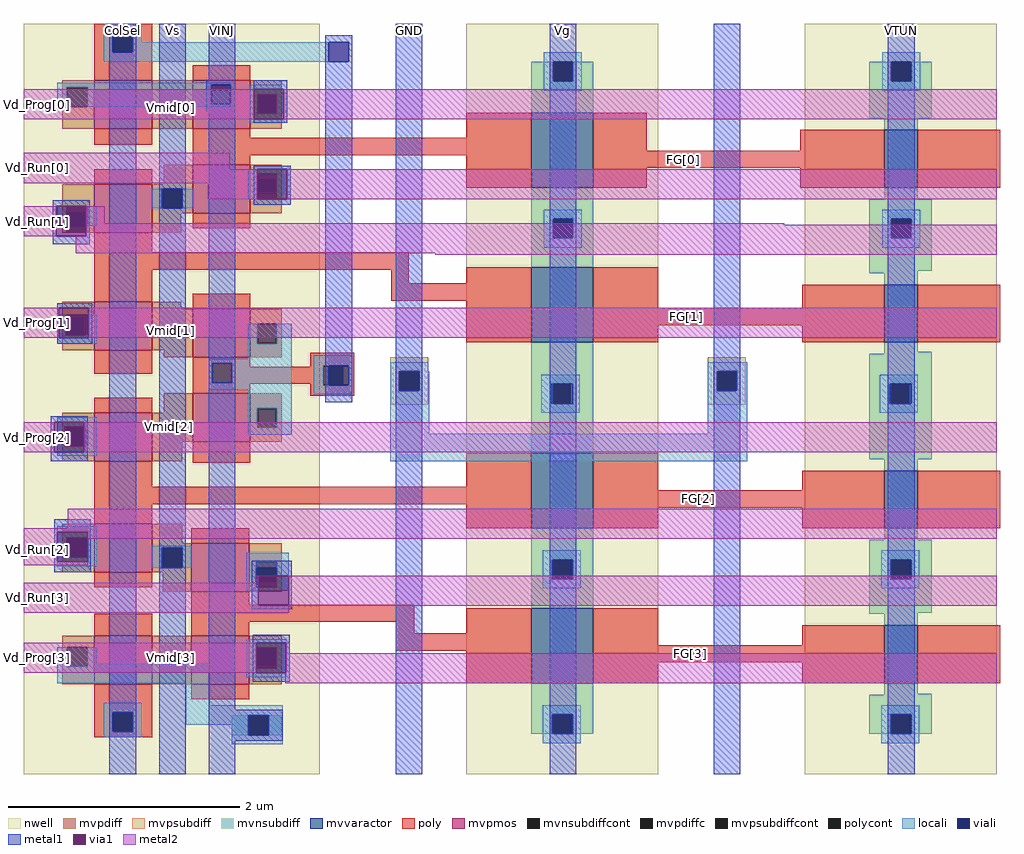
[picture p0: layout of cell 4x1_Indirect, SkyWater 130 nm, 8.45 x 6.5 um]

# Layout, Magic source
magic
tech sky130A
<< nwell >>
rect 545 155 801 805
rect 928 155 1094 805
rect 1221 155 1387 805
<< mvpmos >>
rect 606 714 656 756
rect 691 714 741 756
rect 606 624 656 666
rect 691 641 741 683
rect 606 522 656 564
rect 691 516 741 558
rect 606 426 656 468
rect 691 443 741 485
rect 606 330 656 372
rect 690 313 740 355
rect 606 233 656 275
rect 690 233 740 275
<< mvvaractor >>
rect 984 663 1038 728
rect 1290 663 1319 713
rect 984 529 1038 594
rect 1290 529 1319 579
rect 984 368 1038 433
rect 1290 368 1319 418
rect 984 234 1038 299
rect 1290 234 1319 284
<< mvpdiff >>
rect 578 750 606 756
rect 578 733 582 750
rect 600 733 606 750
rect 578 714 606 733
rect 656 714 691 756
rect 741 744 768 756
rect 741 727 747 744
rect 764 727 768 744
rect 741 714 768 727
rect 666 666 691 683
rect 578 647 606 666
rect 578 630 582 647
rect 600 630 606 647
rect 578 624 606 630
rect 656 662 691 666
rect 656 645 664 662
rect 682 645 691 662
rect 656 641 691 645
rect 741 670 768 683
rect 741 653 747 670
rect 764 653 768 670
rect 741 641 768 653
rect 656 624 681 641
rect 578 553 606 564
rect 578 536 582 553
rect 600 536 606 553
rect 578 522 606 536
rect 656 558 681 564
rect 656 522 691 558
rect 666 516 691 522
rect 741 545 768 558
rect 741 528 747 545
rect 764 528 768 545
rect 741 516 768 528
rect 666 468 691 485
rect 578 456 606 468
rect 578 439 582 456
rect 600 439 606 456
rect 578 426 606 439
rect 656 443 691 468
rect 741 472 768 485
rect 741 455 747 472
rect 764 455 768 472
rect 741 443 768 455
rect 656 426 682 443
rect 578 360 606 372
rect 578 343 582 360
rect 600 343 606 360
rect 578 330 606 343
rect 656 355 682 372
rect 656 351 690 355
rect 656 334 664 351
rect 682 334 690 351
rect 656 330 690 334
rect 665 313 690 330
rect 740 339 768 355
rect 740 322 746 339
rect 764 322 768 339
rect 740 313 768 322
rect 578 265 606 275
rect 578 248 582 265
rect 600 248 606 265
rect 578 233 606 248
rect 656 233 690 275
rect 740 264 768 275
rect 740 247 746 264
rect 764 247 768 264
rect 740 233 768 247
<< mvpdiffc >>
rect 582 733 600 750
rect 747 727 764 744
rect 582 630 600 647
rect 664 645 682 662
rect 747 653 764 670
rect 582 536 600 553
rect 747 528 764 545
rect 582 439 600 456
rect 747 455 764 472
rect 582 343 600 360
rect 664 334 682 351
rect 746 322 764 339
rect 582 248 600 265
rect 746 247 764 264
<< mvpsubdiff >>
rect 862 504 895 516
rect 862 487 870 504
rect 887 487 895 504
rect 862 475 895 487
rect 1137 504 1170 516
rect 1137 487 1145 504
rect 1162 487 1170 504
rect 1137 475 1170 487
<< mvnsubdiff >>
rect 984 755 1003 772
rect 1020 755 1038 772
rect 984 728 1038 755
rect 1277 755 1296 772
rect 1313 755 1331 772
rect 1277 723 1331 755
rect 1290 713 1319 723
rect 984 636 1038 663
rect 1290 653 1319 663
rect 984 619 1003 636
rect 1020 619 1038 636
rect 984 594 1038 619
rect 1277 636 1331 653
rect 1277 619 1296 636
rect 1313 619 1331 636
rect 1277 591 1331 619
rect 1277 589 1319 591
rect 1290 579 1319 589
rect 984 493 1038 529
rect 1290 521 1319 529
rect 1290 519 1331 521
rect 984 476 1001 493
rect 1018 476 1038 493
rect 984 433 1038 476
rect 1277 493 1331 519
rect 1277 476 1294 493
rect 1311 476 1331 493
rect 1277 428 1331 476
rect 1290 418 1319 428
rect 984 341 1038 368
rect 1290 358 1319 368
rect 984 324 1002 341
rect 1019 324 1038 341
rect 984 299 1038 324
rect 1277 341 1331 358
rect 1277 324 1295 341
rect 1312 324 1331 341
rect 1277 295 1331 324
rect 1277 294 1319 295
rect 1290 284 1319 294
rect 984 207 1038 234
rect 1290 225 1319 234
rect 1290 224 1331 225
rect 725 189 739 206
rect 756 189 768 206
rect 984 190 1002 207
rect 1019 190 1038 207
rect 1277 207 1331 224
rect 1277 190 1295 207
rect 1312 190 1331 207
<< mvpsubdiffcont >>
rect 870 487 887 504
rect 1145 487 1162 504
<< mvnsubdiffcont >>
rect 1003 755 1020 772
rect 1296 755 1313 772
rect 1003 619 1020 636
rect 1296 619 1313 636
rect 1001 476 1018 493
rect 1294 476 1311 493
rect 1002 324 1019 341
rect 1295 324 1312 341
rect 739 189 756 206
rect 1002 190 1019 207
rect 1295 190 1312 207
<< poly >>
rect 606 797 656 805
rect 606 780 622 797
rect 639 780 656 797
rect 606 756 656 780
rect 691 756 741 769
rect 606 700 656 714
rect 691 706 741 714
rect 928 706 984 728
rect 691 691 984 706
rect 691 683 741 691
rect 606 666 656 679
rect 928 663 984 691
rect 1038 695 1084 728
rect 1217 695 1290 713
rect 1038 680 1290 695
rect 1038 663 1084 680
rect 1217 663 1290 680
rect 1319 663 1390 713
rect 691 628 741 641
rect 606 607 656 624
rect 606 592 878 607
rect 606 564 656 592
rect 863 580 878 592
rect 928 580 984 594
rect 691 558 741 571
rect 863 565 984 580
rect 606 502 656 522
rect 928 529 984 565
rect 1038 559 1094 594
rect 1219 559 1290 579
rect 1038 544 1290 559
rect 1038 529 1094 544
rect 1219 529 1290 544
rect 1319 529 1390 579
rect 691 508 741 516
rect 793 509 831 520
rect 793 508 804 509
rect 691 493 804 508
rect 691 485 741 493
rect 793 492 804 493
rect 821 492 831 509
rect 606 468 656 481
rect 793 483 831 492
rect 606 404 656 426
rect 691 425 741 443
rect 928 404 984 433
rect 606 389 984 404
rect 606 372 656 389
rect 928 368 984 389
rect 1038 401 1094 433
rect 1219 401 1290 418
rect 1038 386 1290 401
rect 1038 368 1094 386
rect 1219 368 1290 386
rect 1319 368 1390 418
rect 690 355 740 368
rect 606 317 656 330
rect 690 302 740 313
rect 606 275 656 294
rect 690 287 883 302
rect 690 275 740 287
rect 867 277 883 287
rect 928 277 984 299
rect 867 262 984 277
rect 928 234 984 262
rect 1038 267 1094 299
rect 1219 267 1290 284
rect 1038 252 1290 267
rect 1038 234 1094 252
rect 1219 234 1290 252
rect 1319 234 1390 284
rect 606 209 656 233
rect 690 220 740 233
rect 606 192 622 209
rect 639 192 656 209
rect 606 187 656 192
<< polycont >>
rect 622 780 639 797
rect 804 492 821 509
rect 622 192 639 209
<< locali >>
rect 614 797 647 805
rect 614 780 622 797
rect 639 789 647 797
rect 639 780 809 789
rect 614 772 809 780
rect 995 772 1028 780
rect 995 755 1003 772
rect 1020 755 1028 772
rect 574 752 724 754
rect 574 750 707 752
rect 574 733 582 750
rect 600 735 707 750
rect 600 733 724 735
rect 741 745 768 752
rect 995 747 1028 755
rect 1288 772 1321 780
rect 1288 755 1296 772
rect 1313 755 1321 772
rect 1288 747 1321 755
rect 741 744 773 745
rect 741 727 747 744
rect 764 728 773 744
rect 764 727 768 728
rect 741 719 768 727
rect 739 675 772 679
rect 574 630 582 647
rect 600 630 608 647
rect 656 645 664 662
rect 682 645 691 662
rect 739 653 747 675
rect 764 674 772 675
rect 764 657 776 674
rect 764 653 772 657
rect 995 636 1028 644
rect 995 619 1003 636
rect 1020 619 1028 636
rect 995 611 1028 619
rect 1288 636 1321 644
rect 1288 619 1296 636
rect 1313 619 1321 636
rect 1288 611 1321 619
rect 574 552 582 553
rect 574 535 581 552
rect 600 536 608 553
rect 598 535 608 536
rect 574 528 608 535
rect 739 528 747 545
rect 764 528 777 545
rect 739 515 777 528
rect 705 511 777 515
rect 705 494 708 511
rect 725 494 777 511
rect 705 488 777 494
rect 739 472 777 488
rect 796 509 829 518
rect 796 492 804 509
rect 826 492 829 509
rect 796 484 829 492
rect 862 504 895 512
rect 1137 504 1171 512
rect 862 487 870 504
rect 887 487 896 504
rect 574 456 608 464
rect 574 439 580 456
rect 600 439 608 456
rect 739 455 747 472
rect 764 455 777 472
rect 739 449 777 455
rect 862 450 896 487
rect 993 493 1026 501
rect 993 476 1001 493
rect 1020 476 1026 493
rect 993 468 1026 476
rect 1137 487 1145 504
rect 1162 487 1171 504
rect 1137 450 1171 487
rect 1286 493 1319 501
rect 1286 476 1294 493
rect 1313 476 1319 493
rect 1286 468 1319 476
rect 574 431 608 439
rect 862 426 1171 450
rect 574 360 608 370
rect 574 343 582 360
rect 600 343 608 360
rect 574 335 608 343
rect 656 351 690 353
rect 656 334 664 351
rect 682 334 690 351
rect 738 339 774 347
rect 738 317 746 339
rect 764 317 774 339
rect 994 341 1027 349
rect 994 324 1002 341
rect 1020 324 1027 341
rect 738 314 773 317
rect 994 316 1027 324
rect 1287 341 1320 349
rect 1287 324 1295 341
rect 1313 324 1320 341
rect 1287 316 1320 324
rect 738 265 772 272
rect 574 248 582 265
rect 600 251 608 265
rect 600 248 706 251
rect 574 234 706 248
rect 738 247 746 265
rect 764 247 772 265
rect 738 239 772 247
rect 614 209 647 217
rect 614 192 622 209
rect 639 192 647 209
rect 685 215 706 234
rect 685 206 769 215
rect 685 198 739 206
rect 614 187 647 192
rect 725 189 739 198
rect 757 189 769 206
rect 725 181 769 189
rect 994 207 1027 215
rect 994 190 1002 207
rect 1020 190 1027 207
rect 994 182 1027 190
rect 1287 207 1320 215
rect 1287 190 1295 207
rect 1313 190 1320 207
rect 1287 182 1320 190
<< viali >>
rect 622 780 639 797
rect 809 772 826 789
rect 1003 755 1020 772
rect 707 735 724 752
rect 1296 755 1313 772
rect 747 727 764 744
rect 582 630 599 641
rect 665 645 682 662
rect 747 670 764 675
rect 747 658 764 670
rect 582 624 599 630
rect 1003 619 1020 636
rect 1296 619 1313 636
rect 581 536 582 552
rect 582 536 598 552
rect 581 535 598 536
rect 708 494 725 511
rect 809 492 821 509
rect 821 492 826 509
rect 870 487 887 504
rect 580 439 582 456
rect 582 439 597 456
rect 1003 476 1018 493
rect 1018 476 1020 493
rect 1145 487 1162 504
rect 1296 476 1311 493
rect 1311 476 1313 493
rect 582 343 600 360
rect 665 334 682 351
rect 746 322 764 334
rect 746 317 764 322
rect 1003 324 1019 341
rect 1019 324 1020 341
rect 1296 324 1312 341
rect 1312 324 1313 341
rect 746 264 764 265
rect 746 248 764 264
rect 622 192 639 209
rect 739 189 756 206
rect 756 189 757 206
rect 1003 190 1019 207
rect 1019 190 1020 207
rect 1296 190 1312 207
rect 1312 190 1313 207
<< metal1 >>
rect 619 797 642 805
rect 619 780 622 797
rect 639 780 642 797
rect 570 647 602 652
rect 570 621 573 647
rect 599 621 602 647
rect 570 614 602 621
rect 574 559 604 563
rect 574 533 575 559
rect 601 533 604 559
rect 574 528 604 533
rect 568 460 600 465
rect 568 434 571 460
rect 597 434 600 460
rect 568 426 600 434
rect 571 365 603 376
rect 571 339 574 365
rect 600 339 603 365
rect 571 330 603 339
rect 619 209 642 780
rect 619 192 622 209
rect 639 192 642 209
rect 619 155 642 192
rect 662 662 685 805
rect 705 756 728 805
rect 806 789 829 795
rect 806 772 809 789
rect 826 772 829 789
rect 703 752 728 756
rect 703 735 707 752
rect 724 735 728 752
rect 703 729 728 735
rect 662 645 665 662
rect 682 645 685 662
rect 662 351 685 645
rect 662 334 665 351
rect 682 334 685 351
rect 662 155 685 334
rect 705 511 728 729
rect 744 748 773 756
rect 770 722 773 748
rect 744 719 773 722
rect 744 679 776 682
rect 744 653 747 679
rect 773 653 776 679
rect 744 648 776 653
rect 705 494 708 511
rect 725 494 728 511
rect 705 211 728 494
rect 806 509 829 772
rect 806 492 809 509
rect 826 492 829 509
rect 806 477 829 492
rect 867 504 890 805
rect 867 487 870 504
rect 887 487 890 504
rect 742 334 777 340
rect 742 317 746 334
rect 764 327 777 334
rect 742 301 748 317
rect 774 301 777 327
rect 742 298 777 301
rect 743 269 775 276
rect 743 243 746 269
rect 772 243 775 269
rect 743 235 775 243
rect 705 206 769 211
rect 705 189 739 206
rect 757 189 769 206
rect 705 184 769 189
rect 705 155 728 184
rect 867 155 890 487
rect 1000 772 1023 805
rect 1000 755 1003 772
rect 1020 755 1023 772
rect 1000 636 1023 755
rect 1000 619 1003 636
rect 1020 619 1023 636
rect 1000 493 1023 619
rect 1000 476 1003 493
rect 1020 476 1023 493
rect 1000 341 1023 476
rect 1000 324 1003 341
rect 1020 324 1023 341
rect 1000 207 1023 324
rect 1000 190 1003 207
rect 1020 190 1023 207
rect 1000 155 1023 190
rect 1142 504 1165 805
rect 1142 487 1145 504
rect 1162 487 1165 504
rect 1142 155 1165 487
rect 1293 772 1316 805
rect 1293 755 1296 772
rect 1313 755 1316 772
rect 1293 636 1316 755
rect 1293 619 1296 636
rect 1313 619 1316 636
rect 1293 493 1316 619
rect 1293 476 1296 493
rect 1313 476 1316 493
rect 1293 341 1316 476
rect 1293 324 1296 341
rect 1313 324 1316 341
rect 1293 207 1316 324
rect 1293 190 1296 207
rect 1313 190 1316 207
rect 1293 155 1316 190
<< via1 >>
rect 573 641 599 647
rect 573 624 582 641
rect 582 624 599 641
rect 573 621 599 624
rect 575 552 601 559
rect 575 535 581 552
rect 581 535 598 552
rect 598 535 601 552
rect 575 533 601 535
rect 571 456 597 460
rect 571 439 580 456
rect 580 439 597 456
rect 571 434 597 439
rect 574 360 600 365
rect 574 343 582 360
rect 582 343 600 360
rect 574 339 600 343
rect 744 744 770 748
rect 744 727 747 744
rect 747 727 764 744
rect 764 727 770 744
rect 744 722 770 727
rect 747 675 773 679
rect 747 658 764 675
rect 764 658 773 675
rect 747 653 773 658
rect 748 317 764 327
rect 764 317 774 327
rect 748 301 774 317
rect 746 265 772 269
rect 746 248 764 265
rect 764 248 772 265
rect 746 243 772 248
<< metal2 >>
rect 545 722 744 748
rect 770 722 1387 748
rect 545 679 723 693
rect 545 667 747 679
rect 704 653 747 667
rect 773 653 1387 679
rect 545 621 573 647
rect 599 632 615 647
rect 599 631 1203 632
rect 599 621 1387 631
rect 590 606 1387 621
rect 901 605 1387 606
rect 545 533 575 559
rect 601 533 1387 559
rect 545 434 571 460
rect 597 434 1387 460
rect 583 368 1387 385
rect 545 365 1387 368
rect 545 339 574 365
rect 600 359 1387 365
rect 545 336 600 339
rect 745 321 748 327
rect 545 301 748 321
rect 774 301 1387 327
rect 545 295 774 301
rect 545 243 746 269
rect 772 260 775 269
rect 772 243 1387 260
rect 771 234 1387 243
<< labels >>
flabel metal1 867 793 890 805 0 FreeSans 80 0 0 0 GND
port 0 nsew
flabel metal1 705 793 728 805 0 FreeSans 80 0 0 0 VINJ
port 3 nsew
flabel metal1 1293 793 1316 805 0 FreeSans 80 0 0 0 VTUN
port 4 nsew
flabel metal1 1000 793 1023 805 0 FreeSans 80 0 0 0 Vg
port 5 nsew
flabel metal1 619 793 642 805 0 FreeSans 80 0 0 0 ColSel
port 6 nsew
flabel metal1 662 793 685 805 0 FreeSans 80 0 0 0 Vs
port 7 nsew
flabel metal2 545 722 568 748 0 FreeSans 80 0 0 0 Vd_Prog[0]
port 8 nsew
flabel metal2 545 667 568 693 0 FreeSans 80 0 0 0 Vd_Run[0]
port 9 nsew
flabel metal2 545 621 568 647 0 FreeSans 80 0 0 0 Vd_Run[1]
port 10 nsew
flabel metal2 545 533 568 559 0 FreeSans 80 0 0 0 Vd_Prog[1]
port 12 nsew
flabel metal2 545 434 568 460 0 FreeSans 80 0 0 0 Vd_Prog[2]
port 13 nsew
flabel metal2 545 337 568 363 0 FreeSans 80 0 0 0 Vd_Run[2]
port 14 nsew
flabel metal2 545 295 568 321 0 FreeSans 80 0 0 0 Vd_Run[3]
port 15 nsew
flabel metal2 545 243 568 269 0 FreeSans 80 0 0 0 Vd_Prog[3]
port 16 nsew
flabel poly 1109 680 1123 695 0 FreeSans 80 0 0 0 FG[0]
flabel poly 1112 544 1126 559 0 FreeSans 80 0 0 0 FG[1]
flabel poly 1122 386 1136 401 0 FreeSans 80 0 0 0 FG[2]
flabel poly 1115 252 1129 267 0 FreeSans 80 0 0 0 FG[3]
flabel mvpdiff 666 725 680 740 0 FreeSans 80 0 0 0 Vmid[0]
flabel mvpdiff 666 532 680 547 0 FreeSans 80 0 0 0 Vmid[1]
flabel mvpdiff 664 449 678 464 0 FreeSans 80 0 0 0 Vmid[2]
flabel mvpdiff 666 249 680 264 0 FreeSans 80 0 0 0 Vmid[3]
<< end >>
